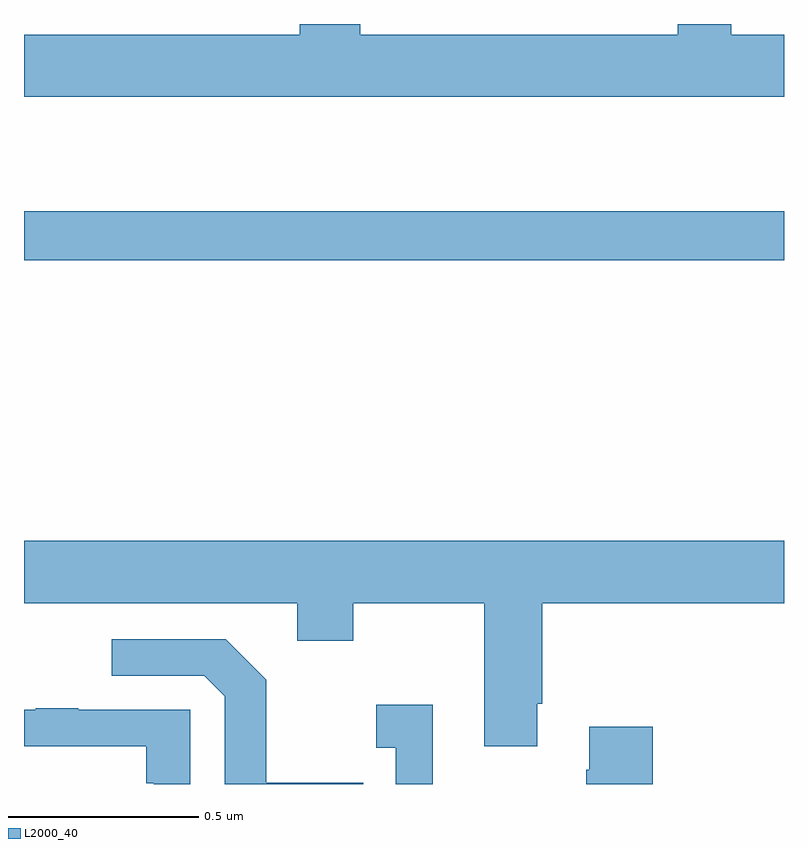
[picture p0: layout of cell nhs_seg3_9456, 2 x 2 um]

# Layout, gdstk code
import gdstk
lib = gdstk.Library(unit=1e-6, precision=1e-09)
def R(c, l, rs):  # rectangles x0, y0, x1, y1
    for r in rs: c.add(gdstk.rectangle(r[:2], r[2:], *l))
def P(c, l, *ps):  # polygons
    for p in ps: c.add(gdstk.Polygon(p, *l))
L2000_40 = (2000, 40)

nhs_seg3_9456 = lib.new_cell('nhs_seg3_9456')
R(nhs_seg3_9456, L2000_40, [(228,741.778,230,741.907)])
P(nhs_seg3_9456, L2000_40, [(230,742.372),(229.861,742.372),(229.861,742.4),(229.721,742.4),(229.721,742.372),(228.885,742.372),(228.885,742.4),(228.725,742.4),(228.725,742.372),(228,742.372),(228,742.208),(230,742.208)],
  [(229.351,740.611),(229.364,740.611),(229.364,740.876),(230,740.876),(230,741.04),(228,741.04),(228,740.876),(228.719,740.876),(228.719,740.777),(228.867,740.777),(228.867,740.876),(229.211,740.876),(229.211,740.499),(229.351,740.499)],
  [(228.893,740.403),(228.637,740.403),(228.637,740.675),(228.531,740.781),(228.231,740.781),(228.231,740.685),(228.474,740.685),(228.528,740.631),(228.528,740.4),(228.893,740.4)],
  [(229.075,740.608),(228.927,740.608),(228.927,740.495),(228.978,740.495),(228.978,740.4),(229.075,740.4)],
  [(228.438,740.595),(228.143,740.595),(228.143,740.6),(228.031,740.6),(228.031,740.595),(228,740.595),(228,740.499),(228.322,740.499),(228.322,740.402),(228.342,740.402),(228.342,740.4),(228.438,740.4)],
  [(229.655,740.551),(229.487,740.551),(229.487,740.438),(229.48,740.438),(229.48,740.4),(229.655,740.4)])

lib.write_gds('nhs_seg3_9456.gds')
